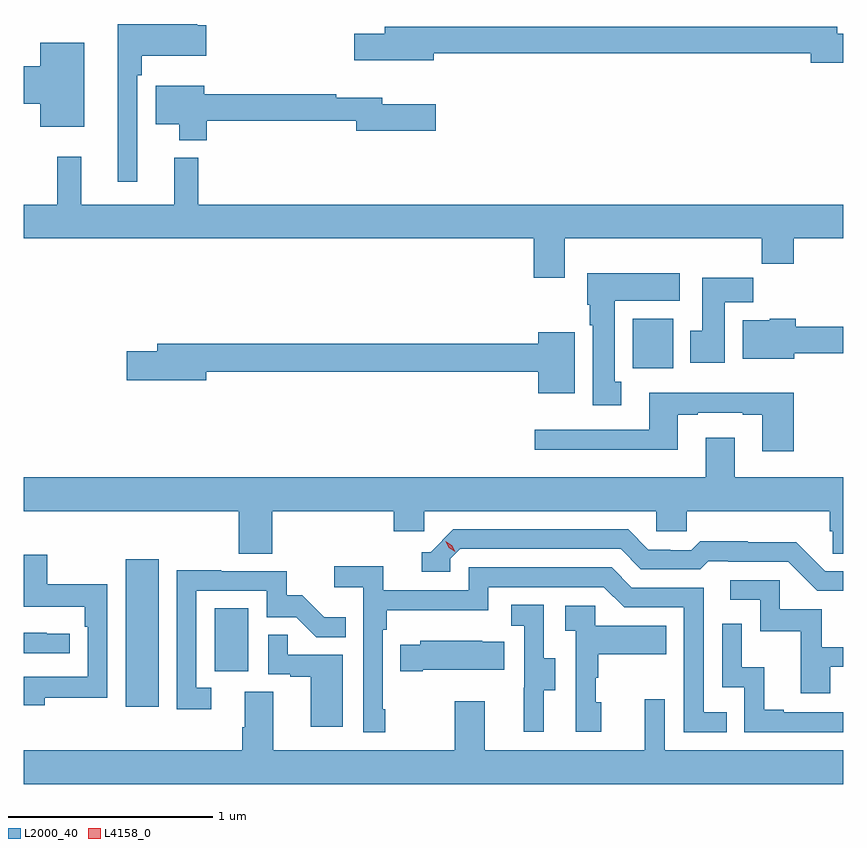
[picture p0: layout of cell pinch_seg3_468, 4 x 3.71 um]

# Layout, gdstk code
import gdstk
lib = gdstk.Library(unit=1e-6, precision=1e-09)
def R(c, l, rs):  # rectangles x0, y0, x1, y1
    for r in rs: c.add(gdstk.rectangle(r[:2], r[2:], *l))
def P(c, l, *ps):  # polygons
    for p in ps: c.add(gdstk.Polygon(p, *l))
L2000_40 = (2000, 40)
L4158_0 = (4158, 0)

pinch_seg3_468 = lib.new_cell('pinch_seg3_468')
R(pinch_seg3_468, L2000_40, [(912.581,681.312,912.742,682.033), (913.016,681.486,913.18,681.793), (915.056,682.964,915.253,683.206)])
P(pinch_seg3_468, L2000_40, [(912.639,684.395),(912.659,684.395),(912.659,684.491),(912.976,684.491),(912.976,684.639),(912.932,684.639),(912.932,684.645),(912.542,684.645),(912.542,683.874),(912.639,683.874)],
  [(916.084,684.597),(916.054,684.597),(916.054,684.631),(913.847,684.631),(913.847,684.597),(913.698,684.597),(913.698,684.467),(914.086,684.467),(914.086,684.502),(915.926,684.502),(915.926,684.455),(916.084,684.455)],
  [(912.379,684.553),(912.164,684.553),(912.164,684.44),(912.084,684.44),(912.084,684.257),(912.164,684.257),(912.164,684.143),(912.379,684.143)],
  [(912.977,684.174),(913.706,684.174),(913.706,684.124),(914.095,684.124),(914.095,684.253),(913.834,684.253),(913.834,684.284),(913.61,684.284),(913.61,684.302),(912.964,684.302),(912.964,684.343),(912.728,684.343),(912.728,684.155),(912.842,684.155),(912.842,684.077),(912.977,684.077)],
  [(914.725,683.6),(915.685,683.6),(915.685,683.476),(915.842,683.476),(915.842,683.6),(916.084,683.6),(916.084,683.764),(912.935,683.764),(912.935,683.992),(912.818,683.992),(912.818,683.764),(912.365,683.764),(912.365,683.998),(912.247,683.998),(912.247,683.764),(912.084,683.764),(912.084,683.6),(914.573,683.6),(914.573,683.406),(914.725,683.406)],
  [(915.001,682.898),(914.968,682.898),(914.968,683.294),(915.286,683.294),(915.286,683.428),(914.834,683.428),(914.834,683.274),(914.846,683.274),(914.846,683.174),(914.861,683.174),(914.861,682.785),(915.001,682.785)],
  [(915.505,683.288),(915.644,683.288),(915.644,683.407),(915.395,683.407),(915.395,683.148),(915.338,683.148),(915.338,682.992),(915.505,682.992)],
  [(915.844,683.038),(916.084,683.038),(916.084,683.167),(915.852,683.167),(915.852,683.206),(915.726,683.206),(915.726,683.2),(915.593,683.2),(915.593,683.012),(915.844,683.012)],
  [(914.773,683.14),(914.594,683.14),(914.594,683.084),(912.737,683.084),(912.737,683.048),(912.588,683.048),(912.588,682.906),(912.976,682.906),(912.976,682.948),(914.594,682.948),(914.594,682.844),(914.773,682.844)],
  [(915.842,682.846),(915.137,682.846),(915.137,682.665),(914.577,682.665),(914.577,682.568),(915.277,682.568),(915.277,682.737),(915.373,682.737),(915.373,682.749),(915.593,682.749),(915.593,682.737),(915.689,682.737),(915.689,682.56),(915.842,682.56)],
  [(913.298,682.268),(913.889,682.268),(913.889,682.17),(914.04,682.17),(914.04,682.268),(915.171,682.268),(915.171,682.17),(915.321,682.17),(915.321,682.268),(916.019,682.268),(916.019,682.17),(916.033,682.17),(916.033,682.06),(916.084,682.06),(916.084,682.432),(915.553,682.432),(915.553,682.627),(915.413,682.627),(915.413,682.432),(912.084,682.432),(912.084,682.268),(913.133,682.268),(913.133,682.06),(913.298,682.06)],
  [(916.084,681.975),(915.996,681.975),(915.854,682.117),(915.618,682.117),(915.618,682.12),(915.385,682.12),(915.343,682.077),(915.24,682.077),(915.24,682.08),(915.133,682.08),(915.034,682.179),(914.181,682.179),(914.07,682.068),(914.027,682.068),(914.027,681.972),(914.166,681.972),(914.166,682.035),(914.214,682.083),(914.997,682.083),(915.096,681.984),(915.385,681.984),(915.424,682.023),(915.523,682.023),(915.523,682.02),(915.816,682.02),(915.957,681.879),(916.084,681.879)],
  [(912.187,681.358),(912.492,681.358),(912.492,681.91),(912.199,681.91),(912.199,682.056),(912.084,682.056),(912.084,681.8),(912.383,681.8),(912.383,681.704),(912.396,681.704),(912.396,681.459),(912.084,681.459),(912.084,681.32),(912.187,681.32)],
  [(913.849,681.301),(913.836,681.301),(913.836,681.689),(913.856,681.689),(913.856,681.785),(914.352,681.785),(914.352,681.897),(914.916,681.897),(915.015,681.798),(915.306,681.798),(915.306,681.189),(915.515,681.189),(915.515,681.285),(915.402,681.285),(915.402,681.894),(915.052,681.894),(914.953,681.993),(914.256,681.993),(914.256,681.882),(913.838,681.882),(913.838,681.998),(913.599,681.998),(913.599,681.896),(913.74,681.896),(913.74,681.189),(913.849,681.189)],
  [(913,681.405),(912.927,681.405),(912.927,681.879),(913.269,681.879),(913.269,681.75),(913.413,681.75),(913.511,681.652),(913.655,681.652),(913.655,681.751),(913.551,681.751),(913.444,681.858),(913.368,681.858),(913.368,681.975),(913.049,681.975),(913.049,681.98),(912.831,681.98),(912.831,681.3),(913,681.3)],
  [(916.021,681.507),(916.084,681.507),(916.084,681.603),(915.979,681.603),(915.979,681.789),(915.774,681.789),(915.774,681.93),(915.531,681.93),(915.531,681.834),(915.678,681.834),(915.678,681.681),(915.877,681.681),(915.877,681.378),(916.021,681.378)],
  [(914.623,681.394),(914.677,681.394),(914.677,681.549),(914.622,681.549),(914.622,681.812),(914.463,681.812),(914.463,681.709),(914.526,681.709),(914.526,681.405),(914.525,681.405),(914.525,681.192),(914.623,681.192)],
  [(914.902,681.336),(914.877,681.336),(914.877,681.455),(914.887,681.455),(914.887,681.569),(915.221,681.569),(915.221,681.709),(914.874,681.709),(914.874,681.807),(914.727,681.807),(914.727,681.683),(914.778,681.683),(914.778,681.192),(914.902,681.192)],
  [(916.084,681.285),(915.793,681.285),(915.793,681.298),(915.698,681.298),(915.698,681.506),(915.588,681.506),(915.588,681.718),(915.492,681.718),(915.492,681.408),(915.6,681.408),(915.6,681.189),(916.084,681.189)],
  [(912.31,681.669),(912.197,681.669),(912.197,681.674),(912.084,681.674),(912.084,681.573),(912.31,681.573)],
  [(913.642,681.567),(913.373,681.567),(913.373,681.665),(913.278,681.665),(913.278,681.471),(913.385,681.471),(913.385,681.459),(913.484,681.459),(913.484,681.216),(913.642,681.216)],
  [(914.032,681.494),(914.429,681.494),(914.429,681.631),(914.321,681.631),(914.321,681.634),(914.019,681.634),(914.019,681.616),(913.921,681.616),(913.921,681.487),(914.032,681.487)],
  [(916.084,681.1),(915.213,681.1),(915.213,681.349),(915.116,681.349),(915.116,681.1),(914.335,681.1),(914.335,681.34),(914.188,681.34),(914.188,681.1),(913.303,681.1),(913.303,681.386),(913.163,681.386),(913.163,681.212),(913.151,681.212),(913.151,681.1),(912.084,681.1),(912.084,680.936),(916.084,680.936)])
P(pinch_seg3_468, L4158_0, [(914.189,682.069),(914.159,682.088),(914.143,682.121),(914.143,682.121),(914.143,682.121),(914.174,682.101),(914.19,682.069),(914.19,682.069)])

lib.write_gds('pinch_seg3_468.gds')
